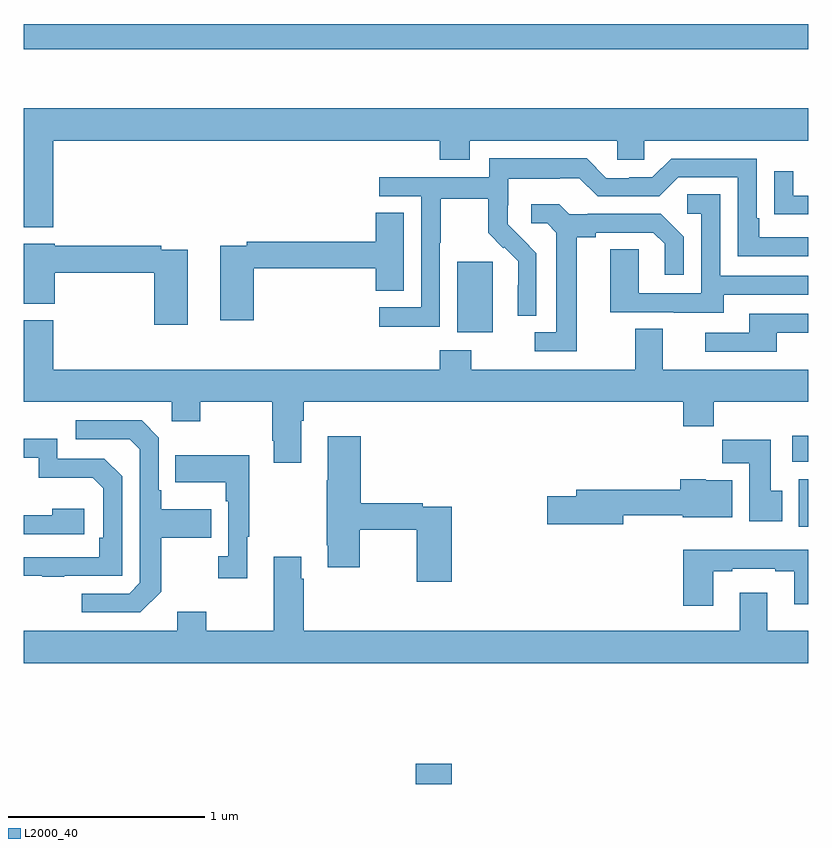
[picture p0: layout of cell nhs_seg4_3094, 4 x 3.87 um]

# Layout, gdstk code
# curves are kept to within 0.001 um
import gdstk
lib = gdstk.Library(unit=1e-6, precision=1e-09)
def R(c, l, rs):  # rectangles x0, y0, x1, y1
    for r in rs: c.add(gdstk.rectangle(r[:2], r[2:], *l))
def P(c, l, *ps):  # polygons
    for p in ps: c.add(gdstk.Polygon(p, *l))
L2000_40 = (2000, 40)

nhs_seg4_3094 = lib.new_cell('nhs_seg4_3094')
R(nhs_seg4_3094, L2000_40, [(276.998,766.9,277.181,767.002), (278.951,768.212,279,768.454), (278.919,768.542,279,768.676), (277.211,769.202,277.39,769.563), (275,770.646,279,770.774)])
P(nhs_seg4_3094, L2000_40, [(275.15,770.18),(277.121,770.18),(277.121,770.081),(277.273,770.081),(277.273,770.18),(278.025,770.18),(278.025,770.082),(278.163,770.082),(278.163,770.18),(279,770.18),(279,770.344),(275,770.344),(275,769.739),(275.15,769.739)],
  [(277.122,769.66),(277.125,769.66),(277.125,769.884),(277.369,769.884),(277.369,769.709),(277.446,769.632),(277.449,769.635),(277.52,769.565),(277.52,769.442),(277.518,769.442),(277.518,769.288),(277.614,769.288),(277.614,769.606),(277.468,769.754),(277.468,769.851),(277.47,769.851),(277.47,769.985),(277.733,769.985),(277.733,769.989),(277.833,769.989),(277.926,769.896),(278.241,769.896),(278.337,769.992),(278.64,769.992),(278.64,769.59),(279,769.59),(279,769.686),(278.749,769.686),(278.749,769.783),(278.736,769.783),(278.736,770.088),(278.301,770.088),(278.205,769.992),(278.087,769.992),(278.087,769.989),(277.971,769.989),(277.871,770.089),(277.374,770.089),(277.374,769.992),(276.813,769.992),(276.813,769.896),(277.026,769.896),(277.026,769.329),(276.813,769.329),(276.813,769.231),(277.122,769.231)],
  [(279,769.899),(278.923,769.899),(278.923,770.023),(278.827,770.023),(278.827,769.804),(278.929,769.804),(278.929,769.803),(279,769.803)],
  [(278.569,769.395),(279,769.395),(279,769.491),(278.55,769.491),(278.55,769.907),(278.382,769.907),(278.382,769.806),(278.454,769.806),(278.454,769.401),(278.136,769.401),(278.136,769.625),(277.991,769.625),(277.991,769.305),(278.315,769.305),(278.315,769.301),(278.569,769.301)],
  [(277.819,769.688),(277.915,769.688),(277.915,769.71),(278.21,769.71),(278.267,769.653),(278.267,769.497),(278.364,769.497),(278.364,769.69),(278.248,769.806),(277.876,769.806),(277.876,769.803),(277.782,769.803),(277.73,769.855),(277.587,769.855),(277.587,769.758),(277.668,769.758),(277.715,769.711),(277.715,769.203),(277.605,769.203),(277.605,769.107),(277.819,769.107)],
  [(276.173,769.528),(276.794,769.528),(276.794,769.414),(276.937,769.414),(276.937,769.811),(276.794,769.811),(276.794,769.664),(276.136,769.664),(276.136,769.644),(276.002,769.644),(276.002,769.263),(276.173,769.263)],
  [(275.836,769.623),(275.702,769.623),(275.702,769.643),(275.158,769.643),(275.158,769.654),(275,769.654),(275,769.349),(275.158,769.349),(275.158,769.507),(275.666,769.507),(275.666,769.242),(275.836,769.242)],
  [(278.839,769.2),(279,769.2),(279,769.296),(278.699,769.296),(278.699,769.2),(278.475,769.2),(278.475,769.104),(278.839,769.104)],
  [(276.415,768.752),(276.428,768.752),(276.428,768.848),(278.363,768.848),(278.363,768.724),(278.519,768.724),(278.519,768.848),(279,768.848),(279,769.012),(278.257,769.012),(278.257,769.22),(278.117,769.22),(278.117,769.012),(277.281,769.012),(277.281,769.111),(277.121,769.111),(277.121,769.012),(275.15,769.012),(275.15,769.264),(275,769.264),(275,768.848),(275.754,768.848),(275.754,768.749),(275.901,768.749),(275.901,768.848),(276.268,768.848),(276.268,768.649),(276.275,768.649),(276.275,768.537),(276.415,768.537)],
  [(275.701,767.881),(275.701,768.154),(275.957,768.154),(275.957,768.301),(275.701,768.301),(275.701,768.397),(275.688,768.397),(275.688,768.666),(275.601,768.753),(275.265,768.753),(275.265,768.657),(275.541,768.657),(275.592,768.606),(275.592,767.925),(275.538,767.871),(275.295,767.871),(275.295,767.775),(275.595,767.775)],
  [(277.181,768.312),(277.034,768.312),(277.034,768.332),(276.719,768.332),(276.719,768.673),(276.551,768.673),(276.551,768.449),(276.544,768.449),(276.544,768.118),(276.551,768.118),(276.551,768.006),(276.714,768.006),(276.714,768.196),(277.003,768.196),(277.003,767.931),(277.181,767.931)],
  [(275.207,767.961),(275.502,767.961),(275.502,768.468),(275.412,768.558),(275.172,768.558),(275.172,768.66),(275,768.66),(275,768.564),(275.076,768.564),(275.076,768.461),(275.353,768.461),(275.406,768.408),(275.406,768.154),(275.386,768.154),(275.386,768.057),(275,768.057),(275,767.961),(275.095,767.961),(275.095,767.956),(275.207,767.956)],
  [(278.866,768.396),(278.809,768.396),(278.809,768.655),(278.56,768.655),(278.56,768.536),(278.699,768.536),(278.699,768.24),(278.866,768.24)],
  [(276.139,768.161),(276.151,768.161),(276.151,768.577),(275.773,768.577),(275.773,768.437),(276.03,768.437),(276.03,768.341),(276.042,768.341),(276.042,768.062),(275.991,768.062),(275.991,767.949),(276.139,767.949)],
  [(278.056,768.271),(278.36,768.271),(278.36,768.26),(278.611,768.26),(278.611,768.448),(278.478,768.448),(278.478,768.454),(278.348,768.454),(278.348,768.4),(277.817,768.4),(277.817,768.366),(277.668,768.366),(277.668,768.224),(278.056,768.224)],
  [(275.308,768.304),(275.147,768.304),(275.147,768.27),(275,768.27),(275,768.174),(275.308,768.174)],
  [(278.515,767.985),(278.611,767.985),(278.611,767.997),(278.831,767.997),(278.831,767.985),(278.927,767.985),(278.927,767.816),(279,767.816),(279,768.094),(278.363,768.094),(278.363,767.808),(278.515,767.808)],
  [(279,767.68),(278.791,767.68),(278.791,767.875),(278.651,767.875),(278.651,767.68),(276.428,767.68),(276.428,767.945),(276.415,767.945),(276.415,768.058),(276.275,768.058),(276.275,767.68),(275.931,767.68),(275.931,767.779),(275.783,767.779),(275.783,767.68),(275,767.68),(275,767.516),(279,767.516)])

lib.write_gds('nhs_seg4_3094.gds')
